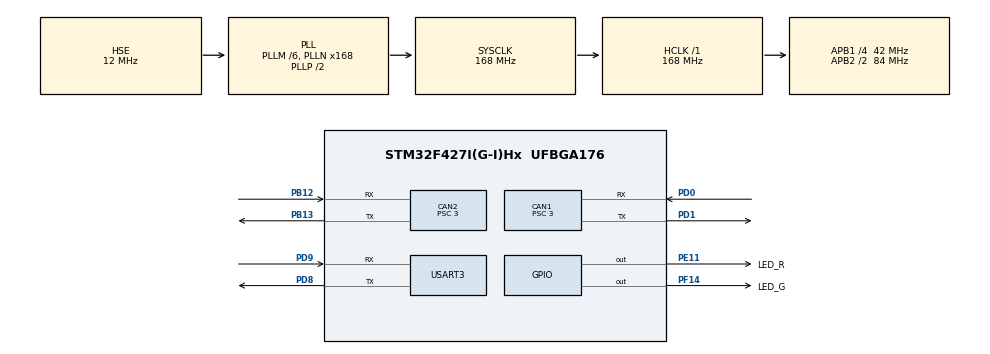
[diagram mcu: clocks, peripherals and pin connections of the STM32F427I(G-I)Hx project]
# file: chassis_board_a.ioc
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CAN1.BS1=CAN_BS1_10TQ
CAN1.BS2=CAN_BS2_3TQ
CAN1.CalculateBaudRate=1000000
CAN1.CalculateTimeBit=1000
CAN1.CalculateTimeQuantum=71.42857142857143
CAN1.Prescaler=3
CAN2.BS1=CAN_BS1_10TQ
CAN2.BS2=CAN_BS2_3TQ
CAN2.CalculateBaudRate=1000000
CAN2.CalculateTimeBit=1000
CAN2.CalculateTimeQuantum=71.42857142857143
CAN2.Prescaler=3
Dma.Request0=USART3_RX
Dma.Request1=USART3_TX
Dma.USART3_RX.0.Direction=DMA_PERIPH_TO_MEMORY
Dma.USART3_RX.0.FIFOMode=DMA_FIFOMODE_DISABLE
Dma.USART3_RX.0.Instance=DMA1_Stream1
Dma.USART3_RX.0.MemDataAlignment=DMA_MDATAALIGN_BYTE
Dma.USART3_RX.0.MemInc=DMA_MINC_ENABLE
Dma.USART3_RX.0.Mode=DMA_NORMAL
Dma.USART3_RX.0.PeriphDataAlignment=DMA_PDATAALIGN_BYTE
Dma.USART3_RX.0.PeriphInc=DMA_PINC_DISABLE
Dma.USART3_RX.0.Priority=DMA_PRIORITY_LOW
Dma.USART3_TX.1.Direction=DMA_MEMORY_TO_PERIPH
Dma.USART3_TX.1.FIFOMode=DMA_FIFOMODE_DISABLE
Dma.USART3_TX.1.Instance=DMA1_Stream3
Dma.USART3_TX.1.MemDataAlignment=DMA_MDATAALIGN_BYTE
Dma.USART3_TX.1.MemInc=DMA_MINC_ENABLE
Dma.USART3_TX.1.Mode=DMA_NORMAL
Dma.USART3_TX.1.PeriphDataAlignment=DMA_PDATAALIGN_BYTE
Dma.USART3_TX.1.PeriphInc=DMA_PINC_DISABLE
Dma.USART3_TX.1.Priority=DMA_PRIORITY_LOW
FREERTOS.Tasks01=defaultTask,0,128,StartDefaultTask,Default,NULL,Dynamic,NULL,NULL;communication,-3,128,communication_task,Default,NULL,Dynamic,NULL,NULL;can_6020_yaw,-3,128,gimbal_yaw_task,Default,NULL,Dynamic,NULL,NULL;can_3508,-3,128,chassis_task,Default,NULL,Dynamic,NULL,NULL
Mcu.Family=STM32F4
Mcu.Name=STM32F427I(G-I)Hx
Mcu.Package=UFBGA176
NVIC.CAN1_RX0_IRQn=true\:5\:0\:false\:false\:true\:true\:true\:true\:true
NVIC.CAN1_TX_IRQn=true\:5\:0\:false\:false\:true\:true\:true\:true\:true
NVIC.CAN2_RX0_IRQn=true\:5\:0\:false\:false\:true\:true\:true\:true\:true
NVIC.CAN2_TX_IRQn=true\:5\:0\:false\:false\:true\:true\:true\:true\:true
NVIC.DMA1_Stream1_IRQn=true\:5\:0\:false\:false\:true\:true\:false\:true\:true
NVIC.DMA1_Stream3_IRQn=true\:5\:0\:false\:false\:true\:true\:false\:true\:true
NVIC.PriorityGroup=NVIC_PRIORITYGROUP_4
NVIC.USART3_IRQn=true\:5\:0\:false\:false\:true\:true\:true\:true\:true
PA13.Mode=Serial_Wire
PA13.Signal=SYS_JTMS-SWDIO
PA14.Mode=Serial_Wire
PA14.Signal=SYS_JTCK-SWCLK
PB12.Mode=CAN_Activate
PB12.Signal=CAN2_RX
PB13.Mode=CAN_Activate
PB13.Signal=CAN2_TX
PD0.Mode=CAN_Activate
PD0.Signal=CAN1_RX
PD1.Mode=CAN_Activate
PD1.Signal=CAN1_TX
PD8.Mode=Asynchronous
PD8.Signal=USART3_TX
PD9.Mode=Asynchronous
PD9.Signal=USART3_RX
PE11.GPIO_Label=LED_R
PE11.GPIO_PuPd=GPIO_PULLUP
PE11.GPIO_Speed=GPIO_SPEED_FREQ_HIGH
PE11.Signal=GPIO_Output
PF14.GPIO_Label=LED_G
PF14.GPIO_PuPd=GPIO_PULLUP
PF14.GPIO_Speed=GPIO_SPEED_FREQ_HIGH
PF14.Signal=GPIO_Output
PF6.Signal=S_TIM10_CH1
PH0/OSC_IN.Mode=HSE-External-Oscillator
PH0/OSC_IN.Signal=RCC_OSC_IN
PH1/OSC_OUT.Mode=HSE-External-Oscillator
PH1/OSC_OUT.Signal=RCC_OSC_OUT
ProjectManager.HeapSize=0x200
ProjectManager.StackSize=0x400
ProjectManager.TargetToolchain=MDK-ARM V5.32
RCC.48MHZClocksFreq_Value=84000000
RCC.AHBFreq_Value=168000000
RCC.APB1CLKDivider=RCC_HCLK_DIV4
RCC.APB1Freq_Value=42000000
RCC.APB1TimFreq_Value=84000000
RCC.APB2CLKDivider=RCC_HCLK_DIV2
RCC.APB2Freq_Value=84000000
RCC.APB2TimFreq_Value=168000000
RCC.CortexFreq_Value=168000000
RCC.HCLKFreq_Value=168000000
RCC.HSE_VALUE=12000000
RCC.HSI_VALUE=16000000
RCC.LSE_VALUE=32768
RCC.PLLM=6
RCC.PLLN=168
RCC.PLLSourceVirtual=RCC_PLLSOURCE_HSE
RCC.SYSCLKFreq_VALUE=168000000
RCC.SYSCLKSource=RCC_SYSCLKSOURCE_PLLCLK
RCC.VCOOutputFreq_Value=336000000
SH.S_TIM10_CH1.0=TIM10_CH1
USART3.VirtualMode=VM_ASYNC
VP_FREERTOS_VS_CMSIS_V1.Mode=CMSIS_V1
board=custom

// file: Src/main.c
/* USER CODE BEGIN Header */
/**
  ******************************************************************************
  * @file           : main.c
  * @brief          : Main program body
  ******************************************************************************
  * @attention
  *
  * Copyright (c) 2022 STMicroelectronics.
  * All rights reserved.
  *
  * This software is licensed under terms that can be found in the LICENSE file
  * in the root directory of this software component.
  * If no LICENSE file comes with this software, it is provided AS-IS.
  *
  ******************************************************************************
  */
/* USER CODE END Header */
#include "main.h"
#include "cmsis_os.h"
#include "can.h"
#include "dma.h"
#include "usart.h"
#include "gpio.h"

void SystemClock_Config(void);
void MX_FREERTOS_Init(void);

/* USER CODE BEGIN 0 */
//全局变量
uint16_t can_cnt_1;
uint16_t can_cnt_2;
float target_speed[7];//实测�?大空载转�?320rpm
moto_info_t motor_info[MOTOR_MAX_NUM];
pid_struct_t motor_pid[7];
uint8_t can_flag=0;
double step=9158/660;
double r;
double sin_sita;
double cos_sita;
double target_v;
int16_t target_int1;
int16_t target_int2;//用于叠加旋转和直�?
double target_curl;
float yuntai_step=60*(1024-364);
/* USER CODE END 0 */

int main(void)
{

  /* MCU Configuration--------------------------------------------------------*/

  /* Reset of all peripherals, Initializes the Flash interface and the Systick. */
  HAL_Init();

  /* Configure the system clock */
  SystemClock_Config();

  /* Initialize all configured peripherals */
  MX_GPIO_Init();
  MX_DMA_Init();
  MX_CAN1_Init();
  MX_CAN2_Init();
  MX_USART3_UART_Init();
  /* USER CODE BEGIN 2 */
  CAN_AlternateConfig();
  /* USER CODE END 2 */

  /* Call init function for freertos objects (in freertos.c) */
  MX_FREERTOS_Init();

  /* Start scheduler */
  osKernelStart();

  /* We should never get here as control is now taken by the scheduler */
  /* Infinite loop */
  while (1)
  {

  }
}

void SystemClock_Config(void)
{
  RCC_OscInitTypeDef RCC_OscInitStruct = {0};
  RCC_ClkInitTypeDef RCC_ClkInitStruct = {0};

  /** Configure the main internal regulator output voltage
  */
  __HAL_RCC_PWR_CLK_ENABLE();
  __HAL_PWR_VOLTAGESCALING_CONFIG(PWR_REGULATOR_VOLTAGE_SCALE1);

  /** Initializes the RCC Oscillators according to the specified parameters
  * in the RCC_OscInitTypeDef structure.
  */
  RCC_OscInitStruct.OscillatorType = RCC_OSCILLATORTYPE_HSE;
  RCC_OscInitStruct.HSEState = RCC_HSE_ON;
  RCC_OscInitStruct.PLL.PLLState = RCC_PLL_ON;
  RCC_OscInitStruct.PLL.PLLSource = RCC_PLLSOURCE_HSE;
  RCC_OscInitStruct.PLL.PLLM = 6;
  RCC_OscInitStruct.PLL.PLLN = 168;
  RCC_OscInitStruct.PLL.PLLP = RCC_PLLP_DIV2;
  RCC_OscInitStruct.PLL.PLLQ = 4;
  if (HAL_RCC_OscConfig(&RCC_OscInitStruct) != HAL_OK)
  {
    Error_Handler();
  }

  /** Initializes the CPU, AHB and APB buses clocks
  */
  RCC_ClkInitStruct.ClockType = RCC_CLOCKTYPE_HCLK|RCC_CLOCKTYPE_SYSCLK
                              |RCC_CLOCKTYPE_PCLK1|RCC_CLOCKTYPE_PCLK2;
  RCC_ClkInitStruct.SYSCLKSource = RCC_SYSCLKSOURCE_PLLCLK;
  RCC_ClkInitStruct.AHBCLKDivider = RCC_SYSCLK_DIV1;
  RCC_ClkInitStruct.APB1CLKDivider = RCC_HCLK_DIV4;
  RCC_ClkInitStruct.APB2CLKDivider = RCC_HCLK_DIV2;

  if (HAL_RCC_ClockConfig(&RCC_ClkInitStruct, FLASH_LATENCY_5) != HAL_OK)
  {
    Error_Handler();
  }
}

void Error_Handler(void)
{
  __disable_irq();
  while (1)
  {
  }
}

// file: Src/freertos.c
#include "FreeRTOS.h"
#include "task.h"
#include "main.h"
#include "cmsis_os.h"

#include "remote_control.h"
#include "math.h"
#include "PID.h"

osThreadId defaultTaskHandle;
osThreadId communicationHandle;
osThreadId can_6020_yawHandle;
osThreadId can_3508Handle;

void StartDefaultTask(void const * argument);
void communication_task(void const * argument);
void gimbal_yaw_task(void const * argument);
void chassis_task(void const * argument);

void MX_FREERTOS_Init(void);

void vApplicationGetIdleTaskMemory( StaticTask_t **ppxIdleTaskTCBBuffer, StackType_t **ppxIdleTaskStackBuffer, uint32_t *pulIdleTaskStackSize );

static StaticTask_t xIdleTaskTCBBuffer;
static StackType_t xIdleStack[configMINIMAL_STACK_SIZE];

void vApplicationGetIdleTaskMemory(StaticTask_t **ppxIdleTaskTCBBuffer, StackType_t **ppxIdleTaskStackBuffer, uint32_t *pulIdleTaskStackSize)
{
  *ppxIdleTaskTCBBuffer = &xIdleTaskTCBBuffer;
  *ppxIdleTaskStackBuffer = &xIdleStack[0];
  *pulIdleTaskStackSize = configMINIMAL_STACK_SIZE;

}

void MX_FREERTOS_Init(void) {

  osThreadDef(defaultTask, StartDefaultTask, osPriorityNormal, 0, 128);
  defaultTaskHandle = osThreadCreate(osThread(defaultTask), NULL);

  osThreadDef(communication, communication_task, osPriorityIdle, 0, 128);
  communicationHandle = osThreadCreate(osThread(communication), NULL);

  osThreadDef(can_6020_yaw, gimbal_yaw_task, osPriorityIdle, 0, 128);
  can_6020_yawHandle = osThreadCreate(osThread(can_6020_yaw), NULL);

  osThreadDef(can_3508, chassis_task, osPriorityIdle, 0, 128);
  can_3508Handle = osThreadCreate(osThread(can_3508), NULL);

}

void StartDefaultTask(void const * argument)
{

  for(;;)
  {
    osDelay(1);
  }

}

void communication_task(void const * argument)
{

  motor_info[0].set_voltage = 0;
  motor_info[1].set_voltage = 0;
  motor_info[2].set_voltage = 0;
  motor_info[3].set_voltage = 0;
  motor_info[4].set_voltage = 0;
  for (;;)
  {
    if (rc_ctrl.rc.ch[3] > 300)
    {
      can_flag = 1;
      HAL_GPIO_WritePin(GPIOH, GPIO_PIN_10, GPIO_PIN_SET);
    }
    osDelay(1);
  }

}

void chassis_task(void const * argument)
{

  for (uint8_t i = 0; i < 4; i++)
  {
    pid_init(&motor_pid[i], 30, 0, 0, 16384, 16384);
  }

  for (;;)
  {
    for (uint8_t i = 0; i < 4; i++)
    {
      motor_info[i].set_voltage = pid_calc(&motor_pid[i], target_speed[i], motor_info[i].rotor_speed);
    }
    if (can_flag == 1)
    {

      if ((rc_ctrl.rc.ch[2] >= 974 && rc_ctrl.rc.ch[2] <= 1074) && ((rc_ctrl.rc.ch[3] >= 974) && (rc_ctrl.rc.ch[3] <= 1074)) && (rc_ctrl.rc.ch[4] <= 1074) && (rc_ctrl.rc.ch[4] >= 974))
      {
        for (int i = 0; i < 4; i++)
        {
          if (motor_info[i].rotor_speed > 720 || motor_info[i].rotor_speed < -720)
          {
            target_speed[i] = 0;
            motor_info[i].set_voltage = pid_calc(&motor_pid[i], target_speed[i], motor_info[i].rotor_speed);
          }
          else
          {
            motor_info[i].set_voltage = 0;
          }
        }
      }
      else
      {
        if (rc_ctrl.rc.ch[4] > 1074)
        {
          target_curl = sqrt((rc_ctrl.rc.ch[4] - 1024) * (rc_ctrl.rc.ch[4] - 1024)) / 660;
        }
        else if (rc_ctrl.rc.ch[4] < 974)
        {
          target_curl = -(sqrt((rc_ctrl.rc.ch[4] - 1024) * (rc_ctrl.rc.ch[4] - 1024)) / 660);
        }
        else
        {
          target_curl = 0;
        }
        target_curl = target_curl * 16384;
        int16_t target_curl_int = target_curl;

        r = sqrt((rc_ctrl.rc.ch[3] - 1024) * (rc_ctrl.rc.ch[3] - 1024) + (rc_ctrl.rc.ch[2] - 1024) * (rc_ctrl.rc.ch[2] - 1024));
        sin_sita = (1024 - rc_ctrl.rc.ch[3]) / r;
        cos_sita = (rc_ctrl.rc.ch[2] - 1024) / r;
        target_v = (r / 660) * 16384 ;

        if (target_curl == 0)
        {
          target_speed[0] = (0.707 * target_v * (sin_sita - cos_sita))/2;
          target_speed[1] = -(0.707 * target_v * (sin_sita + cos_sita))/2;
          target_speed[2] = -(0.707 * target_v * (sin_sita - cos_sita))/2;
          target_speed[3] = (0.707 * target_v * (sin_sita + cos_sita))/2;
        }
        else
        {
          target_int1 = (0.707 * target_v * (sin_sita - cos_sita)) / 2;
          target_int2 = (0.707 * target_v * (sin_sita + cos_sita)) / 2;

          target_speed[0] = (target_int1 - target_curl_int) / 2;
          target_speed[1] = (-target_int2 - target_curl_int) / 2;
          target_speed[2] = (-target_int1 - target_curl_int) / 2;
          target_speed[3] = (target_int2 - target_curl_int) / 2;
        }
      }
    }
    else
    {
      motor_info[0].set_voltage = 0;
      motor_info[1].set_voltage = 0;
      motor_info[2].set_voltage = 0;
      motor_info[3].set_voltage = 0;
    }

    set_motor_voltage(0,
                      motor_info[0].set_voltage,
                      motor_info[1].set_voltage,
                      motor_info[2].set_voltage,
                      motor_info[3].set_voltage);
    osDelay(1);
  }

}
